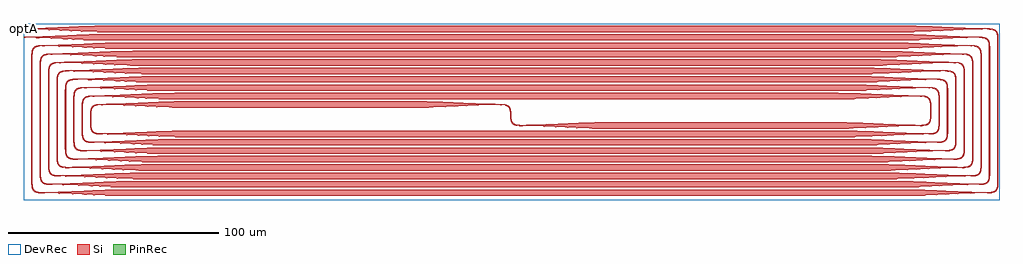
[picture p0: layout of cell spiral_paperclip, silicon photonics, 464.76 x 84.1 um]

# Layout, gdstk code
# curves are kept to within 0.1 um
import gdstk
lib = gdstk.Library(unit=1e-6, precision=1e-09)
def R(c, l, rs):  # rectangles x0, y0, x1, y1
    for r in rs: c.add(gdstk.rectangle(r[:2], r[2:], *l))
def P(c, l, *ps):  # polygons
    for p in ps: c.add(gdstk.Polygon(p, *l))
Si = (1, 0)
PinRec = (1, 10)
DevRec = (68, 0)

spiral_paperclip = lib.new_cell('spiral_paperclip')
R(spiral_paperclip, Si, [(-183,-38.5,187,-35.5), (-179,-34.5,183,-31.5), (-175,-30.5,179,-27.5), (-171,-26.5,175,-23.5), (-167,-22.5,171,-19.5), (-163,-18.5,167,-15.5), (-159,-14.5,163,-11.5), (-155,-10.5,159,-7.5), (45,-6.5,155,-3.5), (-155,3.5,-45,6.5), (-159,7.5,155,10.5), (-163,11.5,159,14.5), (-167,15.5,163,18.5), (-171,19.5,167,22.5), (-175,23.5,171,26.5), (-179,27.5,175,30.5), (-183,31.5,179,34.5), (-192,35.5,183,38.5), (-192,39.5,187,42.5)])
P(spiral_paperclip, Si, [(223,-33.25),(223,-32.75),(224.386,-32.696),(225.48,-32.521),(226.304,-32.209),(226.897,-31.746),(227.314,-31.093),(227.555,-30.341),(227.712,-29.206),(227.75,-28),(227.711,33.207),(227.584,34.197),(227.405,34.865),(227.093,35.494),(226.667,35.966),(226.093,36.314),(225.341,36.555),(224.206,36.712),(223,36.75),(223,37.25),(224.431,37.195),(225.603,37.006),(226.543,36.648),(227.177,36.177),(227.647,35.544),(228.005,34.604),(228.194,33.432),(228.25,32),(228.25,-28),(228.195,-29.431),(228.043,-30.449),(227.77,-31.297),(227.433,-31.88),(226.881,-32.432),(226.298,-32.769),(225.45,-33.042),(224.432,-33.194)],
  [(-219,-33.25),(-220.431,-33.195),(-221.603,-33.006),(-222.543,-32.648),(-223.177,-32.177),(-223.647,-31.544),(-224.005,-30.604),(-224.194,-29.432),(-224.25,-28),(-224.25,24),(-224.195,25.431),(-224.043,26.449),(-223.77,27.297),(-223.433,27.88),(-222.881,28.432),(-222.298,28.769),(-221.45,29.042),(-220.432,29.194),(-219,29.25),(-219,28.75),(-220.386,28.696),(-221.48,28.521),(-222.304,28.209),(-222.897,27.746),(-223.314,27.093),(-223.555,26.341),(-223.712,25.206),(-223.75,24),(-223.711,-29.207),(-223.584,-30.197),(-223.405,-30.865),(-223.093,-31.494),(-222.667,-31.966),(-222.093,-32.314),(-221.341,-32.555),(-220.206,-32.712),(-219,-32.75)],
  [(215,-25.25),(215,-24.75),(216.386,-24.696),(217.48,-24.521),(218.304,-24.209),(218.897,-23.746),(219.314,-23.093),(219.555,-22.341),(219.712,-21.206),(219.75,-20),(219.75,24),(219.696,25.386),(219.554,26.342),(219.36,26.982),(219.093,27.494),(218.667,27.966),(218.093,28.314),(217.341,28.555),(216.206,28.712),(215,28.75),(215,29.25),(216.431,29.195),(217.603,29.006),(218.543,28.648),(219.177,28.177),(219.647,27.544),(220.005,26.604),(220.194,25.432),(220.25,24),(220.25,-20),(220.177,-21.613),(220.006,-22.603),(219.711,-23.422),(219.267,-24.082),(218.772,-24.509),(218.168,-24.824),(217.293,-25.074),(216.243,-25.209)],
  [(-211,-25.25),(-212.431,-25.195),(-213.603,-25.006),(-214.543,-24.648),(-215.177,-24.177),(-215.647,-23.544),(-216.005,-22.604),(-216.194,-21.432),(-216.25,-20),(-216.25,16),(-216.156,17.79),(-215.966,18.75),(-215.711,19.422),(-215.267,20.082),(-214.772,20.509),(-214.168,20.824),(-213.293,21.074),(-212.243,21.209),(-211,21.25),(-211,20.75),(-212.386,20.696),(-213.48,20.521),(-214.304,20.209),(-214.897,19.746),(-215.314,19.093),(-215.555,18.341),(-215.712,17.206),(-215.75,16),(-215.75,-20),(-215.659,-21.729),(-215.521,-22.48),(-215.313,-23.094),(-214.965,-23.668),(-214.582,-24.031),(-213.981,-24.361),(-213.196,-24.585),(-212.206,-24.712),(-211,-24.75)],
  [(207,-17.25),(207,-16.75),(208.386,-16.696),(209.48,-16.521),(210.304,-16.209),(210.897,-15.746),(211.314,-15.093),(211.555,-14.341),(211.712,-13.206),(211.75,-12),(211.75,16),(211.637,17.89),(211.485,18.613),(211.262,19.201),(210.965,19.668),(210.582,20.031),(209.981,20.361),(209.196,20.585),(208.206,20.712),(207,20.75),(207,21.25),(208.431,21.195),(209.603,21.006),(210.543,20.648),(211.177,20.177),(211.647,19.544),(212.005,18.604),(212.194,17.432),(212.25,16),(212.25,-12),(212.132,-13.963),(211.923,-14.893),(211.648,-15.543),(211.267,-16.082),(210.772,-16.509),(210.168,-16.824),(209.293,-17.074),(208.243,-17.209)],
  [(-203,-17.25),(-204.431,-17.195),(-205.603,-17.006),(-206.543,-16.648),(-207.177,-16.177),(-207.647,-15.544),(-208.005,-14.604),(-208.194,-13.432),(-208.25,-12),(-208.249,8.221),(-208.195,9.431),(-208.043,10.449),(-207.825,11.167),(-207.51,11.771),(-207.083,12.266),(-206.544,12.647),(-205.894,12.922),(-205.131,13.104),(-203,13.25),(-203,12.75),(-204.386,12.696),(-205.48,12.521),(-206.304,12.209),(-206.897,11.746),(-207.314,11.093),(-207.555,10.341),(-207.712,9.206),(-207.75,8),(-207.75,-12),(-207.711,-13.207),(-207.584,-14.197),(-207.209,-15.304),(-206.896,-15.747),(-206.493,-16.094),(-205.864,-16.406),(-205.196,-16.585),(-204.206,-16.712),(-203,-16.75)],
  [(199,-9.25),(199,-8.75),(200.386,-8.696),(201.48,-8.521),(202.304,-8.209),(202.823,-7.823),(203.21,-7.303),(203.486,-6.612),(203.66,-5.728),(203.741,-4.631),(203.748,8.217),(203.696,9.386),(203.554,10.342),(203.36,10.982),(203.093,11.494),(202.746,11.897),(202.303,12.21),(201.741,12.447),(201.044,12.613),(199,12.75),(199,13.25),(199.647,13.241),(201.449,13.043),(202.167,12.825),(202.66,12.581),(203.177,12.177),(203.509,11.772),(203.769,11.298),(204.005,10.604),(204.176,9.614),(204.245,8.438),(204.241,-4.647),(204.132,-5.963),(203.923,-6.893),(203.581,-7.66),(203.083,-8.266),(202.423,-8.71),(201.604,-9.005),(200.432,-9.194)],
  [(-195,-9.25),(-196.242,-9.21),(-197.292,-9.075),(-198.167,-8.825),(-198.771,-8.51),(-199.266,-8.083),(-199.71,-7.423),(-200.005,-6.604),(-200.176,-5.614),(-200.248,-4.223),(-200.241,0.647),(-200.132,1.963),(-199.923,2.893),(-199.433,3.88),(-198.772,4.509),(-197.894,4.922),(-196.614,5.176),(-195,5.25),(-195,4.75),(-196.89,4.637),(-198.094,4.313),(-198.583,4.03),(-198.966,3.667),(-199.263,3.2),(-199.486,2.612),(-199.66,1.728),(-199.746,0.427),(-199.748,-4.217),(-199.678,-5.56),(-199.554,-6.342),(-199.313,-7.094),(-199.03,-7.583),(-198.667,-7.966),(-198.093,-8.314),(-197.341,-8.555),(-196.206,-8.712),(-195,-8.75)],
  [(5,-5.25),(3.568,-5.194),(2.396,-5.005),(1.456,-4.647),(0.823,-4.177),(0.289,-3.422),(-0.043,-2.449),(-0.21,-1.242),(-0.363,1.89),(-0.554,2.742),(-0.848,3.401),(-1.418,4.031),(-2.259,4.447),(-3.441,4.679),(-5,4.75),(-5,5.25),(-3.569,5.195),(-2.397,5.006),(-1.457,4.648),(-0.823,4.177),(-0.29,3.423),(0.042,2.45),(0.209,1.243),(0.362,-1.889),(0.553,-2.741),(0.847,-3.4),(1.417,-4.03),(2.258,-4.446),(3.44,-4.678),(5,-4.75)],
  [(195,-5.25),(195,-4.75),(196.206,-4.712),(197.341,-4.555),(198.093,-4.314),(198.667,-3.966),(199.03,-3.583),(199.313,-3.094),(199.554,-2.342),(199.678,-1.56),(199.748,-0.217),(199.746,4.427),(199.66,5.728),(199.486,6.612),(199.263,7.2),(198.966,7.667),(198.583,8.03),(198.094,8.313),(196.89,8.637),(195,8.75),(195,9.25),(196.614,9.176),(197.894,8.922),(198.772,8.509),(199.433,7.88),(199.923,6.893),(200.132,5.963),(200.241,4.647),(200.248,-0.223),(200.176,-1.614),(200.005,-2.604),(199.71,-3.423),(199.266,-4.083),(198.771,-4.51),(198.167,-4.825),(197.292,-5.075),(196.242,-5.21)],
  [(-199,-13.25),(-200.432,-13.194),(-201.604,-13.005),(-202.423,-12.71),(-203.083,-12.266),(-203.581,-11.66),(-203.923,-10.893),(-204.132,-9.963),(-204.241,-8.647),(-204.245,4.438),(-204.176,5.614),(-204.005,6.604),(-203.769,7.298),(-203.509,7.772),(-203.177,8.177),(-202.66,8.581),(-202.167,8.825),(-201.449,9.043),(-199.647,9.241),(-199,9.25),(-199,8.75),(-201.044,8.613),(-201.741,8.447),(-202.303,8.21),(-202.746,7.897),(-203.093,7.494),(-203.36,6.982),(-203.554,6.342),(-203.696,5.386),(-203.748,4.217),(-203.741,-8.631),(-203.66,-9.728),(-203.486,-10.612),(-203.21,-11.303),(-202.823,-11.823),(-202.304,-12.209),(-201.48,-12.521),(-200.386,-12.696),(-199,-12.75)],
  [(203,-13.25),(203,-12.75),(204.385,-12.697),(205.479,-12.522),(206.303,-12.21),(206.896,-11.747),(207.313,-11.094),(207.554,-10.342),(207.711,-9.207),(207.75,-8),(207.749,12.217),(207.585,14.196),(207.21,15.303),(206.897,15.746),(206.494,16.093),(205.865,16.405),(205.197,16.584),(204.207,16.711),(203,16.75),(203,17.25),(204.432,17.194),(205.604,17.005),(206.544,16.647),(207.177,16.177),(207.648,15.543),(208.006,14.603),(208.195,13.431),(208.25,12),(208.248,-8.223),(208.194,-9.432),(208.042,-10.45),(207.824,-11.168),(207.509,-11.772),(207.082,-12.267),(206.543,-12.648),(205.893,-12.923),(205.13,-13.105)],
  [(-207,-21.25),(-208.432,-21.194),(-209.604,-21.005),(-210.544,-20.647),(-211.177,-20.177),(-211.648,-19.543),(-212.006,-18.603),(-212.195,-17.431),(-212.25,-16),(-212.25,12),(-212.131,13.964),(-211.922,14.894),(-211.647,15.544),(-211.266,16.083),(-210.771,16.51),(-210.167,16.825),(-209.292,17.075),(-208.242,17.21),(-207,17.25),(-207,16.75),(-208.385,16.697),(-209.479,16.522),(-210.303,16.21),(-210.896,15.747),(-211.313,15.094),(-211.554,14.342),(-211.711,13.207),(-211.75,12),(-211.75,-16),(-211.638,-17.889),(-211.486,-18.612),(-211.263,-19.2),(-210.966,-19.667),(-210.583,-20.03),(-209.982,-20.36),(-209.197,-20.584),(-208.207,-20.711),(-207,-20.75)],
  [(211,-21.25),(211,-20.75),(212.385,-20.697),(213.479,-20.522),(214.303,-20.21),(214.896,-19.747),(215.313,-19.094),(215.554,-18.342),(215.711,-17.207),(215.75,-16),(215.75,20),(215.66,21.728),(215.522,22.479),(215.314,23.093),(214.966,23.667),(214.583,24.03),(213.982,24.36),(213.197,24.584),(212.207,24.711),(211,24.75),(211,25.25),(212.432,25.194),(213.604,25.005),(214.544,24.647),(215.177,24.177),(215.648,23.543),(216.006,22.603),(216.195,21.431),(216.25,20),(216.25,-16),(216.155,-17.791),(215.965,-18.751),(215.71,-19.423),(215.266,-20.083),(214.771,-20.51),(214.167,-20.825),(213.292,-21.075),(212.242,-21.21)],
  [(-215,-29.25),(-216.432,-29.194),(-217.604,-29.005),(-218.544,-28.647),(-219.177,-28.177),(-219.648,-27.543),(-220.006,-26.603),(-220.195,-25.431),(-220.25,-24),(-220.25,20),(-220.176,21.614),(-220.005,22.604),(-219.71,23.423),(-219.266,24.083),(-218.771,24.51),(-218.167,24.825),(-217.292,25.075),(-216.242,25.21),(-215,25.25),(-215,24.75),(-216.385,24.697),(-217.479,24.522),(-218.303,24.21),(-218.896,23.747),(-219.313,23.094),(-219.554,22.342),(-219.711,21.207),(-219.75,20),(-219.75,-24),(-219.697,-25.385),(-219.555,-26.341),(-219.361,-26.981),(-219.094,-27.493),(-218.668,-27.965),(-218.094,-28.313),(-217.342,-28.554),(-216.207,-28.711),(-215,-28.75)],
  [(219,-29.25),(219,-28.75),(220.385,-28.697),(221.479,-28.522),(222.303,-28.21),(222.896,-27.747),(223.313,-27.094),(223.554,-26.342),(223.711,-25.207),(223.75,-24),(223.712,29.206),(223.585,30.196),(223.406,30.864),(223.094,31.493),(222.668,31.965),(222.094,32.313),(221.342,32.554),(220.207,32.711),(219,32.75),(219,33.25),(220.432,33.194),(221.604,33.005),(222.544,32.647),(223.177,32.177),(223.648,31.543),(224.006,30.603),(224.195,29.431),(224.25,28),(224.25,-24),(224.194,-25.432),(224.042,-26.45),(223.769,-27.298),(223.432,-27.881),(222.88,-28.433),(222.297,-28.77),(221.449,-29.043),(220.431,-29.195)],
  [(-223,-37.25),(-224.432,-37.194),(-225.604,-37.005),(-226.544,-36.647),(-227.177,-36.177),(-227.648,-35.543),(-228.006,-34.603),(-228.195,-33.431),(-228.25,-32),(-228.25,28),(-228.194,29.432),(-228.042,30.45),(-227.769,31.298),(-227.432,31.881),(-226.88,32.433),(-226.297,32.77),(-225.449,33.043),(-224.431,33.195),(-223,33.25),(-223,32.75),(-224.385,32.697),(-225.479,32.522),(-226.303,32.21),(-226.896,31.747),(-227.313,31.094),(-227.554,30.342),(-227.711,29.207),(-227.75,28),(-227.712,-33.206),(-227.585,-34.196),(-227.406,-34.864),(-227.094,-35.493),(-226.668,-35.965),(-226.094,-36.313),(-225.342,-36.554),(-224.207,-36.711),(-223,-36.75)],
  [(227,-37.25),(227,-36.75),(228.385,-36.697),(229.479,-36.522),(230.303,-36.21),(230.896,-35.747),(231.313,-35.094),(231.554,-34.342),(231.711,-33.207),(231.75,-32),(231.712,37.206),(231.585,38.196),(231.406,38.864),(231.094,39.493),(230.668,39.965),(230.094,40.313),(229.342,40.554),(228.207,40.711),(227,40.75),(227,41.25),(228.432,41.194),(229.604,41.005),(230.544,40.647),(231.177,40.177),(231.648,39.543),(232.006,38.603),(232.195,37.431),(232.25,36),(232.209,-33.243),(232.074,-34.293),(231.824,-35.168),(231.432,-35.881),(230.88,-36.433),(230.297,-36.77),(229.449,-37.043),(228.431,-37.195)],
  [(-192,35.5),(-202.28,35.693),(-223.12,36.605),(-232,36.75),(-232,37.25),(-223.28,37.39),(-202.28,38.307),(-192,38.5)],
  [(183,35.5),(183,38.5),(193.28,38.307),(214.12,37.395),(223,37.25),(223,36.75),(214.28,36.61),(193.28,35.693)],
  [(183,-34.5),(183,-31.5),(193.28,-31.693),(214.12,-32.605),(223,-32.75),(223,-33.25),(214.28,-33.39),(193.28,-34.307)],
  [(-179,-34.5),(-189.28,-34.307),(-210.12,-33.395),(-219,-33.25),(-219,-32.75),(-210.28,-32.61),(-189.28,-31.693),(-179,-31.5)],
  [(-179,27.5),(-189.28,27.693),(-210.12,28.605),(-219,28.75),(-219,29.25),(-210.28,29.39),(-189.28,30.307),(-179,30.5)],
  [(175,27.5),(175,30.5),(185.28,30.307),(206.12,29.395),(215,29.25),(215,28.75),(206.28,28.61),(185.28,27.693)],
  [(175,-26.5),(175,-23.5),(185.28,-23.693),(206.12,-24.605),(215,-24.75),(215,-25.25),(206.28,-25.39),(185.28,-26.307)],
  [(-171,-26.5),(-181.28,-26.307),(-202.12,-25.395),(-211,-25.25),(-211,-24.75),(-202.28,-24.61),(-181.28,-23.693),(-171,-23.5)],
  [(-171,19.5),(-181.28,19.693),(-202.12,20.605),(-211,20.75),(-211,21.25),(-202.28,21.39),(-181.28,22.307),(-171,22.5)],
  [(167,19.5),(167,22.5),(177.28,22.307),(198.12,21.395),(207,21.25),(207,20.75),(198.28,20.61),(177.28,19.693)],
  [(167,-18.5),(167,-15.5),(177.28,-15.693),(198.12,-16.605),(207,-16.75),(207,-17.25),(198.28,-17.39),(177.28,-18.307)],
  [(-163,-18.5),(-173.28,-18.307),(-194.12,-17.395),(-203,-17.25),(-203,-16.75),(-194.28,-16.61),(-173.28,-15.693),(-163,-15.5)],
  [(-163,11.5),(-173.28,11.693),(-194.12,12.605),(-203,12.75),(-203,13.25),(-194.28,13.39),(-173.28,14.307),(-163,14.5)],
  [(159,11.5),(159,14.5),(169.28,14.307),(190.12,13.395),(199,13.25),(199,12.75),(190.28,12.61),(169.28,11.693)],
  [(159,-10.5),(159,-7.5),(169.28,-7.693),(190.12,-8.605),(199,-8.75),(199,-9.25),(190.28,-9.39),(169.28,-10.307)],
  [(-155,-10.5),(-165.28,-10.307),(-186.12,-9.395),(-195,-9.25),(-195,-8.75),(-186.28,-8.61),(-165.28,-7.693),(-155,-7.5)],
  [(-155,3.5),(-165.28,3.693),(-186.12,4.605),(-195,4.75),(-195,5.25),(-186.28,5.39),(-165.28,6.307),(-155,6.5)],
  [(-45,3.5),(-45,6.5),(-34.72,6.307),(-13.88,5.395),(-5,5.25),(-5,4.75),(-13.72,4.61),(-34.72,3.693)],
  [(45,-6.5),(34.72,-6.307),(13.88,-5.395),(5,-5.25),(5,-4.75),(13.72,-4.61),(34.72,-3.693),(45,-3.5)],
  [(155,-6.5),(155,-3.5),(165.28,-3.693),(186.12,-4.605),(195,-4.75),(195,-5.25),(186.28,-5.39),(165.28,-6.307)],
  [(155,7.5),(155,10.5),(165.28,10.307),(186.12,9.395),(195,9.25),(195,8.75),(186.28,8.61),(165.28,7.693)],
  [(-159,7.5),(-169.28,7.693),(-190.12,8.605),(-199,8.75),(-199,9.25),(-190.28,9.39),(-169.28,10.307),(-159,10.5)],
  [(-159,-14.5),(-169.28,-14.307),(-190.12,-13.395),(-199,-13.25),(-199,-12.75),(-190.28,-12.61),(-169.28,-11.693),(-159,-11.5)],
  [(163,-14.5),(163,-11.5),(173.28,-11.693),(194.12,-12.605),(203,-12.75),(203,-13.25),(194.28,-13.39),(173.28,-14.307)],
  [(163,15.5),(163,18.5),(173.28,18.307),(194.12,17.395),(203,17.25),(203,16.75),(194.28,16.61),(173.28,15.693)],
  [(-167,15.5),(-177.28,15.693),(-198.12,16.605),(-207,16.75),(-207,17.25),(-198.28,17.39),(-177.28,18.307),(-167,18.5)],
  [(-167,-22.5),(-177.28,-22.307),(-198.12,-21.395),(-207,-21.25),(-207,-20.75),(-198.28,-20.61),(-177.28,-19.693),(-167,-19.5)],
  [(171,-22.5),(171,-19.5),(181.28,-19.693),(202.12,-20.605),(211,-20.75),(211,-21.25),(202.28,-21.39),(181.28,-22.307)],
  [(171,23.5),(171,26.5),(181.28,26.307),(202.12,25.395),(211,25.25),(211,24.75),(202.28,24.61),(181.28,23.693)],
  [(-175,23.5),(-185.28,23.693),(-206.12,24.605),(-215,24.75),(-215,25.25),(-206.28,25.39),(-185.28,26.307),(-175,26.5)],
  [(-175,-30.5),(-185.28,-30.307),(-206.12,-29.395),(-215,-29.25),(-215,-28.75),(-206.28,-28.61),(-185.28,-27.693),(-175,-27.5)],
  [(179,-30.5),(179,-27.5),(189.28,-27.693),(210.12,-28.605),(219,-28.75),(219,-29.25),(210.28,-29.39),(189.28,-30.307)],
  [(179,31.5),(179,34.5),(189.28,34.307),(210.12,33.395),(219,33.25),(219,32.75),(210.28,32.61),(189.28,31.693)],
  [(-183,31.5),(-193.28,31.693),(-214.12,32.605),(-223,32.75),(-223,33.25),(-214.28,33.39),(-193.28,34.307),(-183,34.5)],
  [(-183,-38.5),(-193.28,-38.307),(-214.12,-37.395),(-223,-37.25),(-223,-36.75),(-214.28,-36.61),(-193.28,-35.693),(-183,-35.5)],
  [(187,-38.5),(187,-35.5),(197.28,-35.693),(218.12,-36.605),(227,-36.75),(227,-37.25),(218.28,-37.39),(197.28,-38.307)],
  [(187,39.5),(187,42.5),(197.28,42.307),(218.12,41.395),(227,41.25),(227,40.75),(218.28,40.61),(197.28,39.693)],
  [(-192,39.5),(-202.28,39.693),(-223.12,40.605),(-232,40.75),(-232,41.25),(-223.28,41.39),(-202.28,42.307),(-192,42.5)])
R(spiral_paperclip, DevRec, [(-232,-40.6,232.75,43.5)])
spiral_paperclip.add(gdstk.FlexPath([(-231.99,41),(-232.01,41)], 0.5, ends="flush", simple_path=True, layer=1, datatype=10))  # PinRec
spiral_paperclip.add(gdstk.FlexPath([(-231.99,37),(-232.01,37)], 0.5, ends="flush", simple_path=True, layer=1, datatype=10))  # PinRec
spiral_paperclip.add(gdstk.Label('optA', (-232,41), layer=1, texttype=10))
spiral_paperclip.add(gdstk.Label('optB', (-232,37), layer=1, texttype=10))

lib.write_gds('spiral_paperclip.gds')
